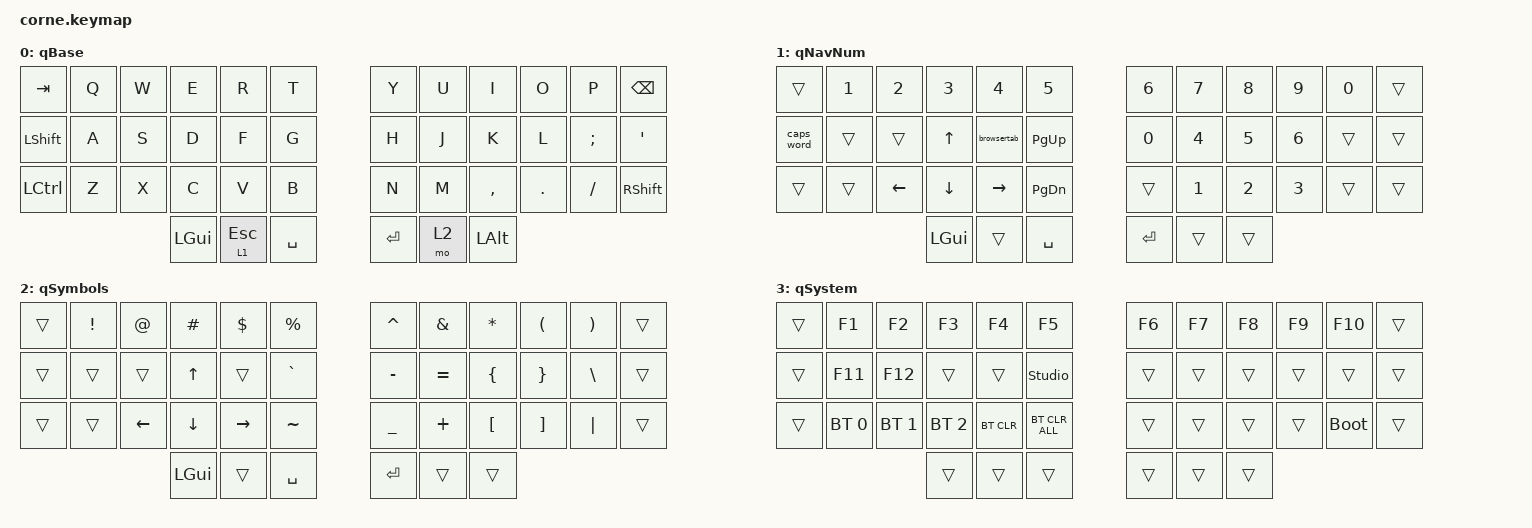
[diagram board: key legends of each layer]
#include <behaviors.dtsi>
#include <dt-bindings/zmk/bt.h>
#include <dt-bindings/zmk/keys.h>

#define DEF 0
#define NAV 1
#define SYM 2
#define ADJ 3
#define extra1 4

/ {
    behaviors {
        hm: homerow_mods {
            compatible = "zmk,behavior-hold-tap";
            label = "HOMEROW_MODS";
            #binding-cells = <2>;
            tapping-term-ms = <200>;
            quick_tap_ms = <0>;
            flavor = "tap-preferred";
            bindings = <&kp>, <&kp>;

            quick-tap-ms = <180>;
            global-quick-tap;
        };

        para: para {
            compatible = "zmk,behavior-tap-dance";
            label = "PARA";
            #binding-cells = <0>;
            bindings = <&kp LEFT_PARENTHESIS>, <&kp RIGHT_PARENTHESIS>;
        };

        caps: caps {
            compatible = "zmk,behavior-caps-word";
            label = "CAPS";
            #binding-cells = <0>;
            continue-list = <MINUS BACKSPACE>;
        };

        paraless: paraless {
            compatible = "zmk,behavior-mod-morph";
            label = "PARALESS";
            bindings = <&kp LEFT_PARENTHESIS>, <&kp LESS_THAN>;

            #binding-cells = <0>;
            mods = <(MOD_LSFT)>;
        };

        paragreat: paragreat {
            compatible = "zmk,behavior-mod-morph";
            label = "PARAGREAT";
            bindings = <&kp RIGHT_PARENTHESIS>, <&kp GREATER_THAN>;

            #binding-cells = <0>;
            mods = <(MOD_LSFT)>;
        };
    };

    macros {
        browsertab: browsertab {
            compatible = "zmk,behavior-macro";
            #binding-cells = <0>;
            bindings =
                <&macro_press>,
                <&kp LCTRL>,
                <&macro_tap>,
                <&kp TAB>,
                <&macro_release>,
                <&kp LCTRL>;
        };

        copy: copy {
            compatible = "zmk,behavior-macro";
            #binding-cells = <0>;
            bindings =
                <&macro_press>,
                <&kp LCTRL>,
                <&macro_tap>,
                <&kp C>,
                <&macro_release>,
                <&kp LCTRL>;

            label = "COPY";
        };

        paste: paste {
            compatible = "zmk,behavior-macro";
            #binding-cells = <0>;
            bindings =
                <&macro_press>,
                <&kp LCTRL>,
                <&macro_tap>,
                <&kp V>,
                <&macro_release>,
                <&kp LCTRL>;

            label = "PASTE";
        };
    };

    combos {
        compatible = "zmk,combos";

        copy {
            bindings = <&copy>;
            key-positions = <28 27>;
        };

        paste {
            bindings = <&paste>;
            key-positions = <26 27>;
        };
    };

    //

    keymap {
        compatible = "zmk,keymap";

        QWERTY {
            display-name = "qBase";
            bindings = <
&kp TAB    &kp Q  &kp W  &kp E     &kp R         &kp T        &kp Y    &kp U  &kp I         &kp O    &kp P          &kp BACKSPACE
&kp LSHFT  &kp A  &kp S  &kp D     &kp F         &kp G        &kp H    &kp J  &kp K         &kp L    &kp SEMICOLON  &kp SQT
&kp LCTRL  &kp Z  &kp X  &kp C     &kp V         &kp B        &kp N    &kp M  &kp COMMA     &kp DOT  &kp FSLH       &kp RSHFT
                         &kp LGUI  &lt 1 ESCAPE  &kp SPACE    &kp RET  &mo 2  &kp LEFT_ALT
            >;
        };

        qNAV {
            display-name = "qNavNum";

            // -----------------------------------------------------------------------------------------
            // |  TAB |  1  |  2  |  3  |  4  |  5  |   |  6  |  7  |  8  |  9  |  0  | BKSP |
            // | BTCLR| BT1 | BT2 | BT3 | BT4 | BT5 |   | LFT | DWN |  UP | RGT |     |      |
            // | SHFT |     |     |     |     |     |   |     |     |     |     |     |      |
            // | GUI | CTRL | SHFT | LWR | SPC |   | ENT | RSE  | BKSP | ALT | ESC |

            bindings = <
&trans      &kp N1  &kp N2    &kp N3        &kp N4           &kp N5           &kp N6   &kp N7  &kp N8  &kp N9  &kp N0  &trans
&caps_word  &trans  &trans    &kp UP_ARROW  &browsertab      &kp PAGE_UP      &kp N0   &kp N4  &kp N5  &kp N6  &trans  &trans
&trans      &trans  &kp LEFT  &kp DOWN      &kp RIGHT_ARROW  &kp PAGE_DOWN    &trans   &kp N1  &kp N2  &kp N3  &trans  &trans
                              &kp LGUI      &trans           &kp SPACE        &kp RET  &trans  &trans
            >;
        };

        qSYM {
            display-name = "qSymbols";

            // -----------------------------------------------------------------------------------------
            // |  TAB |  !  |  @  |  #  |  $  |  %  |   |  ^  |  &  |  *  |  (  |  )  | BKSP |
            // | CTRL |     |     |     |     |     |   |  -  |  =  |  [  |  ]  |  \  |  `   |
            // | SHFT |     |     |     |     |     |   |  _  |  +  |  {  |  }  | "|" |  ~   |
            //                    | GUI |     | SPC |   | ENT |     | ALT |

            bindings = <
&trans  &kp EXCL  &kp AT          &kp HASH        &kp DLLR         &kp PRCNT    &kp CARET  &kp AMPS   &kp ASTRK  &kp LEFT_PARENTHESIS  &kp RPAR  &trans
&trans  &trans    &trans          &kp UP_ARROW    &trans           &kp GRAVE    &kp MINUS  &kp EQUAL  &kp LBRC   &kp RBRC              &kp BSLH  &trans
&trans  &trans    &kp LEFT_ARROW  &kp DOWN_ARROW  &kp RIGHT_ARROW  &kp TILDE    &kp UNDER  &kp PLUS   &kp LBKT   &kp RBKT              &kp PIPE  &trans
                                  &kp LGUI        &trans           &kp SPACE    &kp RET    &trans     &trans
            >;
        };

        qADJ {
            display-name = "qSystem";
            bindings = <
&trans  &kp F1        &kp F2        &kp F3        &kp F4      &kp F5            &kp F6  &kp F7  &kp F8  &kp F9  &kp F10      &trans
&trans  &kp F11       &kp F12       &trans        &trans      &studio_unlock    &trans  &trans  &trans  &trans  &trans       &trans
&trans  &bt BT_SEL 0  &bt BT_SEL 1  &bt BT_SEL 2  &bt BT_CLR  &bt BT_CLR_ALL    &trans  &trans  &trans  &trans  &bootloader  &trans
                                    &trans        &trans      &trans            &trans  &trans  &trans
            >;
        };
    };

    conditional_layers {
        compatible = "zmk,conditional-layers";

        qL3 {
            if-layers = <1 2>;
            then-layer = <3>;
        };

        wL3 {
            if-layers = <4 4>;
            then-layer = <4>;
        };
    };
};
